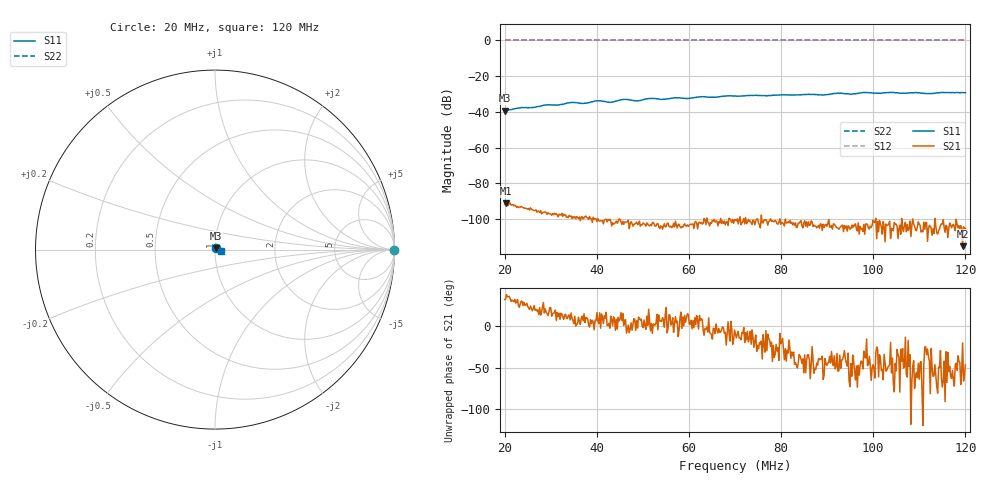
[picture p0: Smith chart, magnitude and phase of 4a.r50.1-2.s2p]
! Anritsu VNA Master:  Model: MS2036C/10/77
! SN:  1601066
! /bd0/18may26.balun/4a.r50.s2p
! Existing Calibration Information:
! TYPE:  Current Settings,  Active Cal Settings
! TIME:  05/26/2018 03:07:53 PM,  05/26/2018 02:51:55 PM
! INTERNAL TEMP:  59.3 C,  59.5 C
! # POINTS:  500,  500
! START FREQ:  20.000 MHz,  20.000 MHz
! STOP FREQ:  120.000 MHz,  120.000 MHz
! SOURCE POWER:  High,  High
! IFBW:  50 Hz,  50 Hz
! AVG FACTOR:  1 ,  1
! REF PLANE 1:  0 mm,  0 mm
! REF PLANE 2:  0 mm,  0 mm
! CAL TYPE:  Full S11,  Full S11
! CAL METHOD:  SOLT,  SOLT
! CAL LINE TYPE:  Coax,  Coax
! DUT PORT 1:  K-Conn(M),  K-Conn(M)
! DUT PORT 2:  K-Conn(M),  K-Conn(M)
! CAL STATUS:  OK: Accuracy High,  --
# GHZ S DB R 50.0
! FREQ.GHZ  S11DB  S11A  S21DB  S21A  S12DB  S12A  S22DB  S22A
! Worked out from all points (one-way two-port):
!   500 points, 20 MHz to 120 MHz, reference 50 ohm
!   highest |S21| = -91.17 dB at 20.2 MHz (marker M1); lowest = -115.3 dB at 119.4 MHz (marker M2)
!   lowest |S11| = -39.3 dB at 20 MHz (marker M3), VSWR 1.02, Z = 50.7 + j0.825 ohm
!   |S11| at or under -10 dB: start of sweep to end of sweep
!   |S22| runs from 0.0 to 0.0 dB; largest |S21 - S12| = 1
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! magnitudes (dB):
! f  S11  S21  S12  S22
! 20 MHz  -39.3  -91.8  0.0  0.0
! 20.2 MHz  -39.2  -91.2  0.0  0.0
! 23.21 MHz  -37.8  -93.3  0.0  0.0
! 26.21 MHz  -37.6  -95.1  0.0  0.0
! 29.02 MHz  -36.2  -96.5  0.0  0.0
! 31.62 MHz  -36.1  -98.8  0.0  0.0
! 34.43 MHz  -34.7  -98.3  0.0  0.0
! 36.83 MHz  -35.3  -98.7  0.0  0.0
! 40.24 MHz  -33.8  -99.8  0.0  0.0
! 43.05 MHz  -34.6  -101.2  0.0  0.0
! 45.85 MHz  -33.0  -103.0  0.0  0.0
! 48.66 MHz  -33.8  -101.8  0.0  0.0
! 51.46 MHz  -32.5  -103.8  0.0  0.0
! 53.47 MHz  -32.8  -104.5  0.0  0.0
! 70.1 MHz  -31.1  -100.6  0.0  0.0
! 86.73 MHz  -30.2  -101.6  0.0  0.0
! 89.14 MHz  -30.6  -102.9  0.0  0.0
! 92.34 MHz  -29.5  -105.1  0.0  0.0
! 103.4 MHz  -29.3  -102.8  0.0  0.0
! 112 MHz  -29.8  -105.5  0.0  0.0
! 119.4 MHz  -29.2  -115.3  0.0  0.0
! 120 MHz  -29.3  -105.3  0.0  0.0
